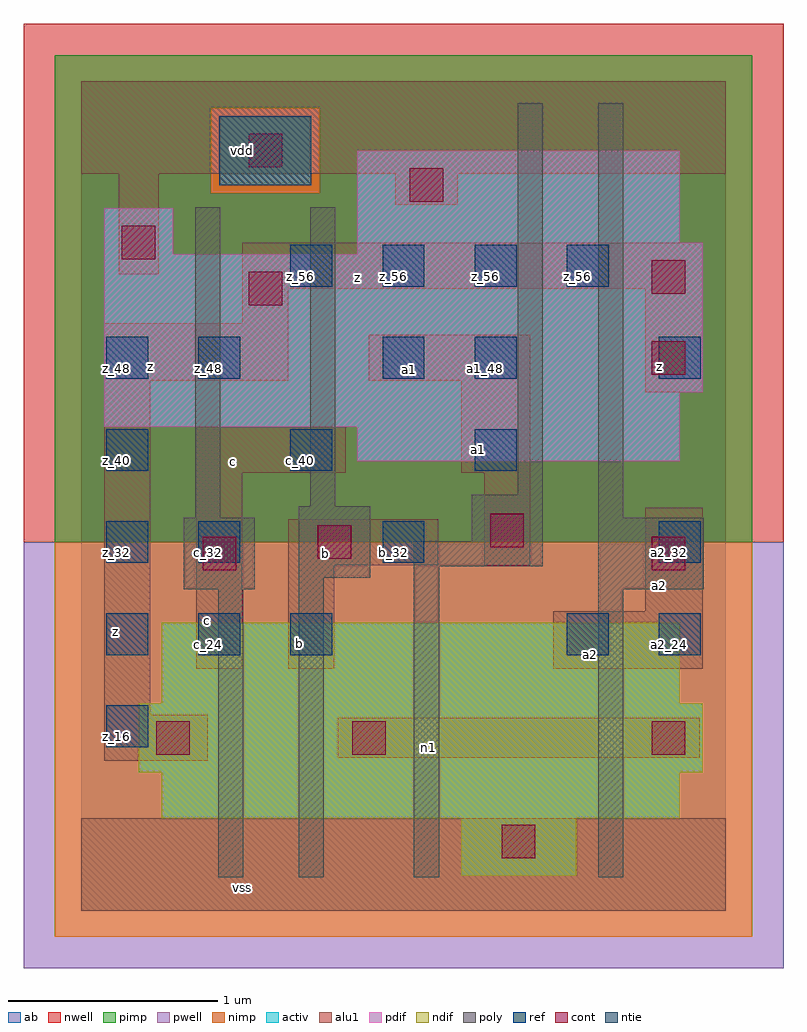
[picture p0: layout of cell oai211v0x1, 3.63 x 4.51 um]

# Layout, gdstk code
import gdstk
lib = gdstk.Library(unit=1e-6, precision=2.5e-09)
def R(c, l, rs):  # rectangles x0, y0, x1, y1
    for r in rs: c.add(gdstk.rectangle(r[:2], r[2:], *l))
def A(c, l, x, y, w, h, nx, ny, dx, dy):  # array of equal rectangles
    R(c, l, [(x+i*dx, y+j*dy, x+i*dx+w, y+j*dy+h) for i in range(nx) for j in range(ny)])
ndif = (3, 0)
pdif = (4, 0)
ntie = (5, 0)
ref = (24, 0)
cont = (25, 0)
pwell = (41, 0)
nwell = (42, 0)
activ = (43, 0)
pimp = (44, 0)
nimp = (45, 0)
poly = (46, 0)
alu1 = (49, 0)
ab = (63, 0)

oai211v0x1 = lib.new_cell('oai211v0x1')
R(oai211v0x1, ndif, [(1.815,0.165,2.365,0.44), (0.385,0.44,2.86,0.66), (0.275,0.66,2.97,0.99), (0.385,0.99,2.86,1.375)])
R(oai211v0x1, pdif, [(1.32,2.145,2.86,2.31), (0.11,2.31,2.86,2.475), (0.11,2.475,2.97,3.135), (0.11,3.135,0.44,3.355), (1.32,3.135,2.97,3.19), (1.32,3.19,2.86,3.63)])
R(oai211v0x1, ntie, [(0.66,3.465,1.1,3.795)])
A(oai211v0x1, ref, 0.12, 0.78, 0.2, 0.2, 1, 3, 0, 0.88)
A(oai211v0x1, ref, 0.12, 1.22, 0.2, 0.2, 3, 1, 0.44, 0)
A(oai211v0x1, ref, 0.12, 2.1, 0.2, 0.2, 3, 1, 0.88, 0)
A(oai211v0x1, ref, 1, 2.98, 0.2, 0.2, 4, 1, 0.44, 0)
R(oai211v0x1, ref, [(2.32,1.22,2.52,1.42), (2.76,1.22,2.96,1.42), (0.56,1.66,0.76,1.86), (1.44,1.66,1.64,1.86), (2.76,1.66,2.96,1.86), (0.56,2.54,0.76,2.74), (1.44,2.54,1.64,2.74), (1.88,2.54,2.08,2.74), (2.76,2.54,2.96,2.74)])
R(oai211v0x1, cont, [(2.01,0.25,2.17,0.41), (0.36,0.745,0.52,0.905), (1.295,0.745,1.455,0.905), (2.725,0.745,2.885,0.905), (0.58,1.625,0.74,1.785), (2.725,1.625,2.885,1.785), (1.13,1.68,1.29,1.84), (1.955,1.735,2.115,1.895), (2.725,2.56,2.885,2.72), (0.8,2.89,0.96,3.05), (2.725,2.945,2.885,3.105), (0.195,3.11,0.355,3.27), (1.57,3.385,1.73,3.545), (0.8,3.55,0.96,3.71)])
R(oai211v0x1, pwell, [(-0.275,-0.275,3.355,1.76)])
R(oai211v0x1, nwell, [(-0.275,1.76,3.355,4.235)])
R(oai211v0x1, activ, [(1.815,0.165,2.365,0.44), (0.385,0.44,2.86,0.66), (0.275,0.66,2.97,0.99), (0.385,0.99,2.86,1.375), (1.32,2.145,2.86,2.31), (0.11,2.31,2.86,2.475), (0.11,2.475,2.97,3.135), (0.11,3.135,0.44,3.355), (1.32,3.135,2.97,3.19), (1.32,3.19,2.86,3.63), (0.66,3.465,1.1,3.795)])
R(oai211v0x1, pimp, [(-0.125,1.76,3.205,3.425), (-0.125,3.425,0.62,3.835), (1.14,3.425,3.205,3.835), (-0.125,3.835,3.205,4.085)])
R(oai211v0x1, nimp, [(-0.125,-0.125,3.205,1.76), (0.62,3.425,1.14,3.835)])
R(oai211v0x1, poly, [(0.655,0.16,0.775,1.535), (1.04,0.16,1.16,1.59), (1.59,0.16,1.71,1.645), (2.47,0.16,2.59,1.535), (0.49,1.535,0.83,1.875), (2.47,1.535,2.975,1.875), (1.04,1.59,1.38,1.93), (1.59,1.645,2.205,1.765), (1.865,1.765,2.205,1.985), (0.545,1.875,0.665,3.36), (2.47,1.875,2.59,3.855), (1.095,1.93,1.215,3.36), (2.085,1.985,2.205,3.855)])
R(oai211v0x1, alu1, [(0,0,3.08,0.44), (0.11,0.715,0.605,0.935), (1.225,0.73,2.955,0.92), (0.11,0.935,0.33,2.53), (0.55,1.155,0.77,2.09), (0.99,1.155,1.21,1.65), (2.255,1.155,2.97,1.43), (2.695,1.43,2.97,1.925), (0.99,1.65,1.705,1.87), (1.925,1.65,2.145,2.09), (0.55,2.09,1.265,2.31), (1.815,2.09,2.145,2.53), (2.695,2.475,2.97,2.97), (0.11,2.53,0.99,2.805), (1.375,2.53,2.145,2.75), (0.77,2.805,0.99,2.97), (0.77,2.97,2.97,3.19), (0.18,3.04,0.37,3.52), (1.5,3.37,1.8,3.52), (0,3.52,3.08,3.96)])
R(oai211v0x1, ab, [(0,0,3.08,3.96)])
oai211v0x1.add(gdstk.Label('vss', (0.77,0.11), layer=49, texttype=0))
oai211v0x1.add(gdstk.Label('n1', (1.6575,0.7775), layer=49, texttype=0))
oai211v0x1.add(gdstk.Label('a2', (2.4325,1.2225), layer=49, texttype=0))
oai211v0x1.add(gdstk.Label('a2', (2.7625,1.5525), layer=49, texttype=0))
oai211v0x1.add(gdstk.Label('b', (1.045,1.2775), layer=49, texttype=0))
oai211v0x1.add(gdstk.Label('b', (1.1675,1.705), layer=49, texttype=0))
oai211v0x1.add(gdstk.Label('c', (0.605,1.3875), layer=49, texttype=0))
oai211v0x1.add(gdstk.Label('z', (2.7625,2.5975), layer=49, texttype=0))
oai211v0x1.add(gdstk.Label('a1', (1.8975,2.2), layer=49, texttype=0))
oai211v0x1.add(gdstk.Label('c', (0.7275,2.145), layer=49, texttype=0))
oai211v0x1.add(gdstk.Label('z', (0.165,1.3325), layer=49, texttype=0))
oai211v0x1.add(gdstk.Label('a1', (1.5675,2.585), layer=49, texttype=0))
oai211v0x1.add(gdstk.Label('z', (0.33,2.5975), layer=49, texttype=0))
oai211v0x1.add(gdstk.Label('z', (1.32,3.025), layer=49, texttype=0))
oai211v0x1.add(gdstk.Label('vdd', (0.77,3.63), layer=49, texttype=0))
oai211v0x1.add(gdstk.Label('c_24', (0.61,1.27), layer=24, texttype=0))
oai211v0x1.add(gdstk.Label('c_32', (0.61,1.71), layer=24, texttype=0))
oai211v0x1.add(gdstk.Label('z_48', (0.61,2.59), layer=24, texttype=0))
oai211v0x1.add(gdstk.Label('b_24', (1.05,1.27), layer=24, texttype=0))
oai211v0x1.add(gdstk.Label('c_40', (1.05,2.15), layer=24, texttype=0))
oai211v0x1.add(gdstk.Label('z_56', (1.05,3.03), layer=24, texttype=0))
oai211v0x1.add(gdstk.Label('b_32', (1.49,1.71), layer=24, texttype=0))
oai211v0x1.add(gdstk.Label('a1_48', (1.49,2.59), layer=24, texttype=0))
oai211v0x1.add(gdstk.Label('z_56', (1.49,3.03), layer=24, texttype=0))
oai211v0x1.add(gdstk.Label('a1_40', (1.93,2.15), layer=24, texttype=0))
oai211v0x1.add(gdstk.Label('a1_48', (1.93,2.59), layer=24, texttype=0))
oai211v0x1.add(gdstk.Label('z_56', (1.93,3.03), layer=24, texttype=0))
oai211v0x1.add(gdstk.Label('z_16', (0.17,0.83), layer=24, texttype=0))
oai211v0x1.add(gdstk.Label('z_24', (0.17,1.27), layer=24, texttype=0))
oai211v0x1.add(gdstk.Label('z_32', (0.17,1.71), layer=24, texttype=0))
oai211v0x1.add(gdstk.Label('z_40', (0.17,2.15), layer=24, texttype=0))
oai211v0x1.add(gdstk.Label('z_48', (0.17,2.59), layer=24, texttype=0))
oai211v0x1.add(gdstk.Label('a2_24', (2.37,1.27), layer=24, texttype=0))
oai211v0x1.add(gdstk.Label('z_56', (2.37,3.03), layer=24, texttype=0))
oai211v0x1.add(gdstk.Label('a2_24', (2.81,1.27), layer=24, texttype=0))
oai211v0x1.add(gdstk.Label('a2_32', (2.81,1.71), layer=24, texttype=0))
oai211v0x1.add(gdstk.Label('z_48', (2.81,2.59), layer=24, texttype=0))

lib.write_gds('oai211v0x1.gds')
